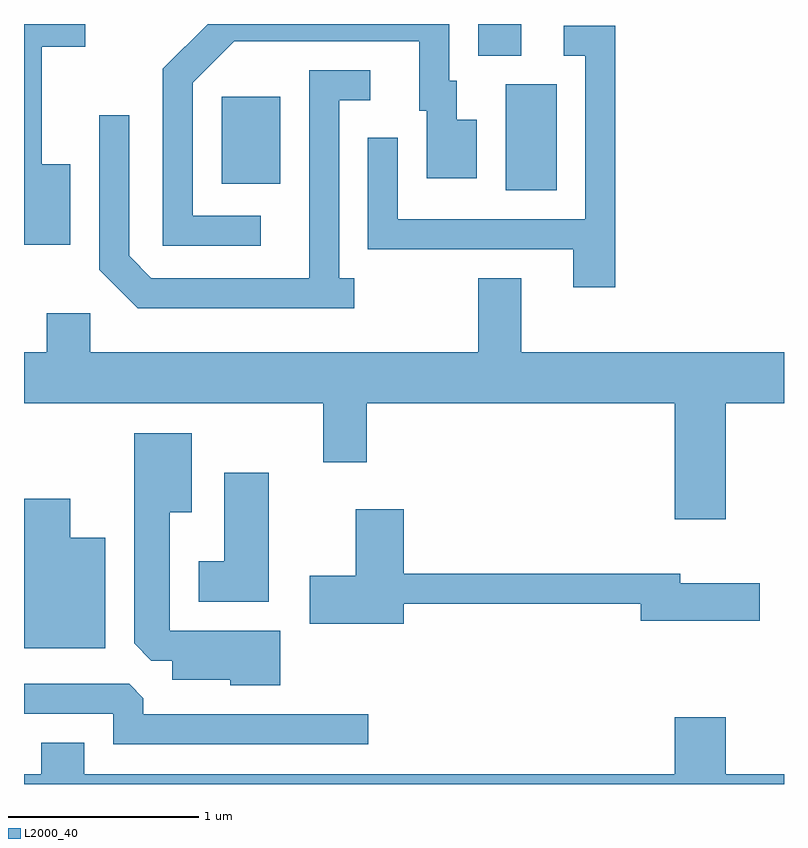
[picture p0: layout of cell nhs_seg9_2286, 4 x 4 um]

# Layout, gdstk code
import gdstk
lib = gdstk.Library(unit=1e-6, precision=1e-09)
def R(c, l, rs):  # rectangles x0, y0, x1, y1
    for r in rs: c.add(gdstk.rectangle(r[:2], r[2:], *l))
def P(c, l, *ps):  # polygons
    for p in ps: c.add(gdstk.Polygon(p, *l))
L2000_40 = (2000, 40)

nhs_seg9_2286 = lib.new_cell('nhs_seg9_2286')
R(nhs_seg9_2286, L2000_40, [(254.146,2039.556,254.414,2040.114), (252.651,2039.591,252.959,2040.049), (254.001,2040.266,254.229,2040.432)])
P(nhs_seg9_2286, L2000_40, [(252.858,2039.424),(252.499,2039.424),(252.499,2040.124),(252.717,2040.341),(253.691,2040.341),(253.691,2039.976),(253.731,2039.976),(253.731,2039.621),(253.994,2039.621),(253.994,2039.929),(253.889,2039.929),(253.889,2040.134),(253.849,2040.134),(253.849,2040.432),(252.577,2040.432),(252.341,2040.197),(252.341,2039.266),(252.858,2039.266)],
  [(251.854,2039.694),(251.704,2039.694),(251.704,2040.311),(251.933,2040.311),(251.933,2040.432),(251.611,2040.432),(251.611,2039.271),(251.854,2039.271)],
  [(254.724,2040.424),(254.453,2040.424),(254.453,2040.266),(254.566,2040.266),(254.566,2039.404),(253.579,2039.404),(253.579,2039.833),(253.421,2039.833),(253.421,2039.246),(254.501,2039.246),(254.501,2039.046),(254.724,2039.046)],
  [(253.348,2039.094),(253.269,2039.094),(253.269,2040.031),(253.433,2040.031),(253.433,2040.189),(253.111,2040.189),(253.111,2039.094),(252.282,2039.094),(252.164,2039.212),(252.164,2039.953),(252.006,2039.953),(252.006,2039.139),(252.209,2038.936),(253.348,2038.936)],
  [(254.001,2039.094),(254.001,2038.704),(251.959,2038.704),(251.959,2038.909),(251.731,2038.909),(251.731,2038.704),(251.611,2038.704),(251.611,2038.436),(253.186,2038.436),(253.186,2038.126),(253.414,2038.126),(253.414,2038.436),(255.036,2038.436),(255.036,2037.826),(255.304,2037.826),(255.304,2038.436),(255.611,2038.436),(255.611,2038.704),(254.229,2038.704),(254.229,2039.094)],
  [(252.959,2037.239),(252.379,2037.239),(252.379,2037.861),(252.494,2037.861),(252.494,2038.279),(252.191,2038.279),(252.191,2037.172),(252.282,2037.081),(252.391,2037.081),(252.391,2036.981),(252.696,2036.981),(252.696,2036.951),(252.959,2036.951)],
  [(252.899,2038.069),(252.666,2038.069),(252.666,2037.604),(252.531,2037.604),(252.531,2037.391),(252.899,2037.391)],
  [(252.039,2037.729),(251.854,2037.729),(251.854,2037.934),(251.611,2037.934),(251.611,2037.146),(252.039,2037.146)],
  [(253.609,2037.381),(254.856,2037.381),(254.856,2037.291),(255.484,2037.291),(255.484,2037.489),(255.064,2037.489),(255.064,2037.539),(253.609,2037.539),(253.609,2037.879),(253.356,2037.879),(253.356,2037.529),(253.116,2037.529),(253.116,2037.276),(253.609,2037.276)],
  [(253.423,2036.799),(252.239,2036.799),(252.239,2036.884),(252.164,2036.959),(251.611,2036.959),(251.611,2036.801),(252.081,2036.801),(252.081,2036.641),(253.423,2036.641)],
  [(255.611,2036.484),(255.304,2036.484),(255.304,2036.784),(255.036,2036.784),(255.036,2036.484),(251.929,2036.484),(251.929,2036.649),(251.701,2036.649),(251.701,2036.484),(251.611,2036.484),(251.611,2036.432),(255.611,2036.432)])

lib.write_gds('nhs_seg9_2286.gds')
